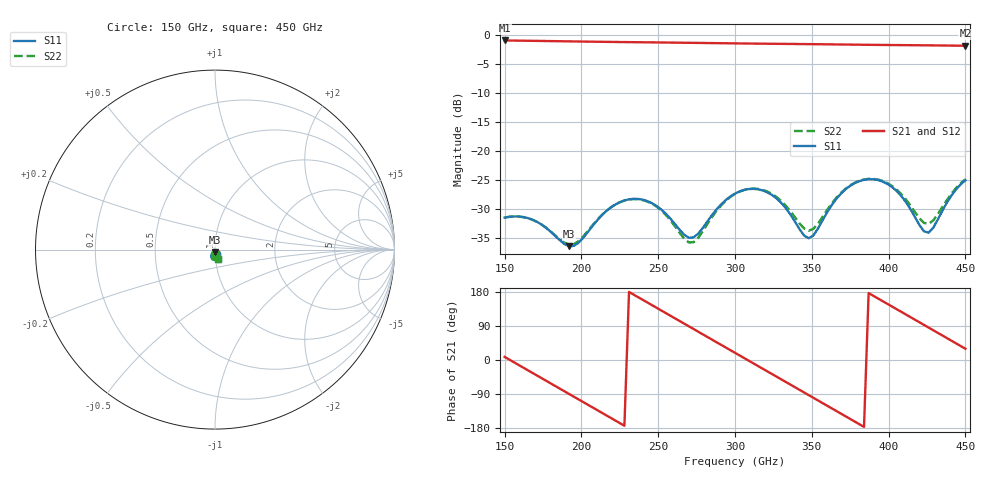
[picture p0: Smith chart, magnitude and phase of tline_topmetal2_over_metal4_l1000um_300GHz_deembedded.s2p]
! Created with skrf 2.2.0 (http://scikit-rf.org).
# GHz S DB R 50.0
! Port[1] = P1
! Port[2] = P2
!freq dBS11 angS11 dBS21 angS21 dBS12 angS12 dBS22 angS22
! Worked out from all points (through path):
!   101 points, 150 GHz to 450 GHz, reference 50 ohm
!   highest |S21| = -0.97 dB at 150 GHz (marker M1); lowest = -1.9 dB at 450 GHz (marker M2)
!   group delay of S21, straight-line fit = 6.47 ps
!   lowest |S11| = -36.4 dB at 192 GHz (marker M3), VSWR 1.03, Z = 50 - j1.51 ohm
!   |S11| at or under -10 dB: start of sweep to end of sweep
!   |S22| runs from -36.1 to -24.8 dB; largest |S21 - S12| = 1.5e-14
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150  -31.50 -81.7  -0.97 8.2  -0.97 8.2  -31.46 -84.3
168  -31.82 -98.8  -1.03 -33.8  -1.03 -33.8  -31.84 -100.3
180  -33.92 -104.4  -1.08 -61.7  -1.08 -61.7  -33.86 -105.1
192  -36.40 -88.4  -1.12 -89.7  -1.12 -89.7  -36.12 -89.3
201  -35.02 -67.5  -1.16 -110.6  -1.16 -110.6  -34.78 -69.8
216  -30.41 -66.6  -1.21 -145.5  -1.21 -145.5  -30.37 -68.9
228  -28.53 -80.9  -1.25 -173.4  -1.25 -173.4  -28.54 -83.0
240  -28.40 -97.5  -1.28 158.6  -1.28 158.6  -28.46 -99.6
252  -30.09 -110.8  -1.32 130.7  -1.32 130.7  -30.25 -113.2
270  -34.95 -94.2  -1.37 88.8  -1.37 88.8  -35.76 -95.0
276  -34.25 -76.1  -1.39 74.8  -1.39 74.8  -34.99 -73.7
300  -27.34 -77.8  -1.47 19.0  -1.47 19.0  -27.41 -74.2
321  -27.12 -107.6  -1.53 -29.9  -1.53 -29.9  -26.98 -103.3
336  -30.91 -120.0  -1.57 -64.8  -1.57 -64.8  -30.36 -114.4
351  -34.56 -78.4  -1.61 -99.7  -1.61 -99.7  -33.42 -80.0
363  -29.31 -61.4  -1.64 -127.6  -1.64 -127.6  -29.05 -63.4
378  -25.53 -77.7  -1.69 -162.6  -1.69 -162.6  -25.46 -77.4
390  -24.88 -96.2  -1.72 169.5  -1.72 169.5  -24.80 -94.5
402  -26.17 -113.6  -1.75 141.6  -1.75 141.6  -25.98 -110.4
414  -29.91 -121.8  -1.78 113.7  -1.78 113.7  -29.33 -116.6
426  -34.08 -87.3  -1.81 85.7  -1.81 85.7  -32.57 -87.7
450  -25.04 -70.0  -1.88 29.8  -1.88 29.8  -24.90 -71.6
